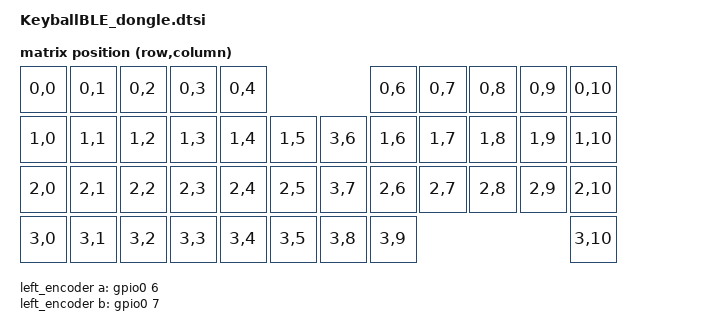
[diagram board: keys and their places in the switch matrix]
// KeyballBLE_dongle.dtsi - 最小構成版
// ドングル用の基本定義のみ（Physical Layouts除外）

#include <dt-bindings/zmk/matrix_transform.h>

/ {
    // Matrix Transform定義（キーマップサイズ決定用）
    default_transform: keymap_transform_0 {
        compatible = "zmk,matrix-transform";
        columns = <11>;
        rows = <4>;               
        map = <
            RC(0,0) RC(0,1) RC(0,2) RC(0,3) RC(0,4)                     RC(0,6) RC(0,7) RC(0,8) RC(0,9) RC(0,10)
            RC(1,0) RC(1,1) RC(1,2) RC(1,3) RC(1,4) RC(1,5)     RC(3,6) RC(1,6) RC(1,7) RC(1,8) RC(1,9) RC(1,10)
            RC(2,0) RC(2,1) RC(2,2) RC(2,3) RC(2,4) RC(2,5)     RC(3,7) RC(2,6) RC(2,7) RC(2,8) RC(2,9) RC(2,10)
            RC(3,0) RC(3,1) RC(3,2) RC(3,3) RC(3,4) RC(3,5)     RC(3,8) RC(3,9)                         RC(3,10)         
        >;
    };
    
    // Mock KScan定義（ドングルは物理キーなし）
    mock_kscan: kscan0 {
        compatible = "zmk,kscan-mock";
        columns = <11>;
        rows = <4>;
        events = <0>;
    };

    // ★★★ 追加：Split Pointing Device用の設定 ★★★
    split_inputs {
        compatible = "zmk,split-inputs";
        #address-cells = <1>;
        #size-cells = <0>;

        // 右側トラックボール用のinput-split定義
        trackball_split: trackball_split@0 {
            compatible = "zmk,input-split";
            reg = <0>;
            // device は Peripheral側のoverlayで設定
        };
    };

    // ★★★ 追加：Central側用のinput-listener（デフォルトで無効） ★★★
    trackball_listener: trackball_listener {
        compatible = "zmk,input-listener";
        device = <&trackball_split>;
        status = "disabled";  // デフォルトで無効、overlay側で有効化
    };

    // ダミーエンコーダー定義（ドングルには物理エンコーダーなし,またビルドのためにも必要）
    left_encoder: encoder_left {
        compatible = "alps,ec11";
        // ★安全なダミーピン使用（ドングルでは物理接続なし
        a-gpios = <&gpio0 6 (GPIO_ACTIVE_HIGH | GPIO_PULL_UP)>;
        b-gpios = <&gpio0 7 (GPIO_ACTIVE_HIGH | GPIO_PULL_UP)>;
        steps = <24>;
        status = "disabled";  // 常に無効
    };
        
    // sensors定義をドングル用dtsiに追加
    sensors: sensors {
        compatible = "zmk,keymap-sensors";
        sensors = <&left_encoder>;  // ドングルでは左側のみ
        triggers-per-rotation = <16>;  // 1回転で10回反応
        status = "okay";  // デフォルト無効
    };

};

